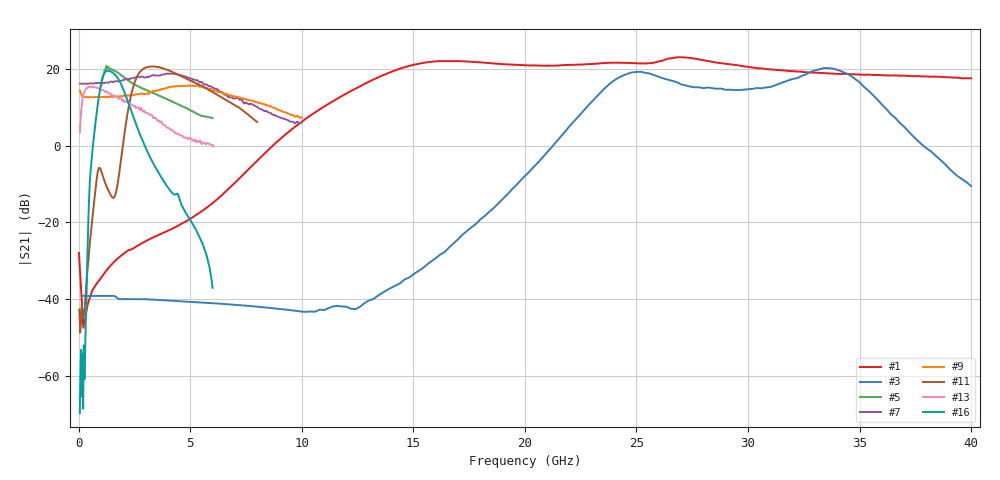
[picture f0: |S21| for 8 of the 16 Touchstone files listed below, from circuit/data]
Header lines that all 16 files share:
# MHZ S MA R 50
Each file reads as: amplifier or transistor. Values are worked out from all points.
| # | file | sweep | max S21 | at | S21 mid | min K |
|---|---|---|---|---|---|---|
| 1 | HMC283_deembedded.s2p | 10 MHz to 40 GHz | 23.0 dB | 27 GHz | 20.9 dB at 20 GHz | 11.44 |
| 2 | HMC283LM1_deembedded.s2p | 200 MHz to 40 GHz | 24.6 dB | 15 GHz | 21.2 dB at 20.2 GHz | 1.65 |
| 3 | HMC300LM1_deembedded.s2p | 200 MHz to 40 GHz | 20.2 dB | 33.4 GHz | -6.8 dB at 20.2 GHz | 5.01 |
| 4 | HMC308_deembedded_3V.s2p | 1 GHz to 6 GHz | 17.8 dB | 1.25 GHz | 13.1 dB at 3.5 GHz | 3.91 |
| 5 | HMC308_deembedded_5V.s2p | 1 GHz to 6 GHz | 20.8 dB | 1.25 GHz | 13.3 dB at 3.5 GHz | 3.68 |
| 6 | HMC311LP3_deembedded.s2p | 200 MHz to 10 GHz | 15.0 dB | 200 MHz | 14.2 dB at 5.125 GHz | -0.30 |
| 7 | HMC313_deembedded.s2p | 50 MHz to 10 GHz | 18.8 dB | 4.03 GHz | 17.5 dB at 5.025 GHz | 0.70 |
| 8 | HMC314_deembedded.s2p | 10 MHz to 7 GHz | 12.7 dB | 2.666 GHz | 11.4 dB at 3.505 GHz | 1.85 |
| 9 | HMC315_deembedded_5V.s2p | 50 MHz to 10 GHz | 15.6 dB | 4.826 GHz | 15.6 dB at 5.025 GHz | 0.90 |
| 10 | HMC315_deembedded_7V.s2p | 50 MHz to 10 GHz | 16.5 dB | 5.224 GHz | 16.5 dB at 5.025 GHz | 0.86 |
| 11 | HMC326MS8G_deembedded.s2p | 30 MHz to 8 GHz | 20.6 dB | 3.269 GHz | 19.6 dB at 4.033 GHz | -689.07 |
| 12 | HMC327MS8G_deembedded.s2p | 1 GHz to 10 GHz | 21.8 dB | 3.25 GHz | 6.8 dB at 5.5 GHz | 4.21 |
| 13 | HMC374_deembedded.s2p | 50 MHz to 6.05 GHz | 15.4 dB | 650 MHz | 8.6 dB at 3.05 GHz | 0.86 |
| 14 | HMC375LP3_deembedded.s2p | 50 MHz to 5 GHz | 19.3 dB | 1.683 GHz | 10.7 dB at 2.525 GHz | -1.65 |
| 15 | Hmc376lp3_deembedded.s2p | 50 MHz to 6 GHz | 17.5 dB | 555.8 MHz | 4.5 dB at 3.025 GHz | 0.59 |
| 16 | Hmc382lp3_deembedded.s2p | 50 MHz to 6 GHz | 19.5 dB | 1.3 GHz | -0.9 dB at 3.025 GHz | -968.94 |
